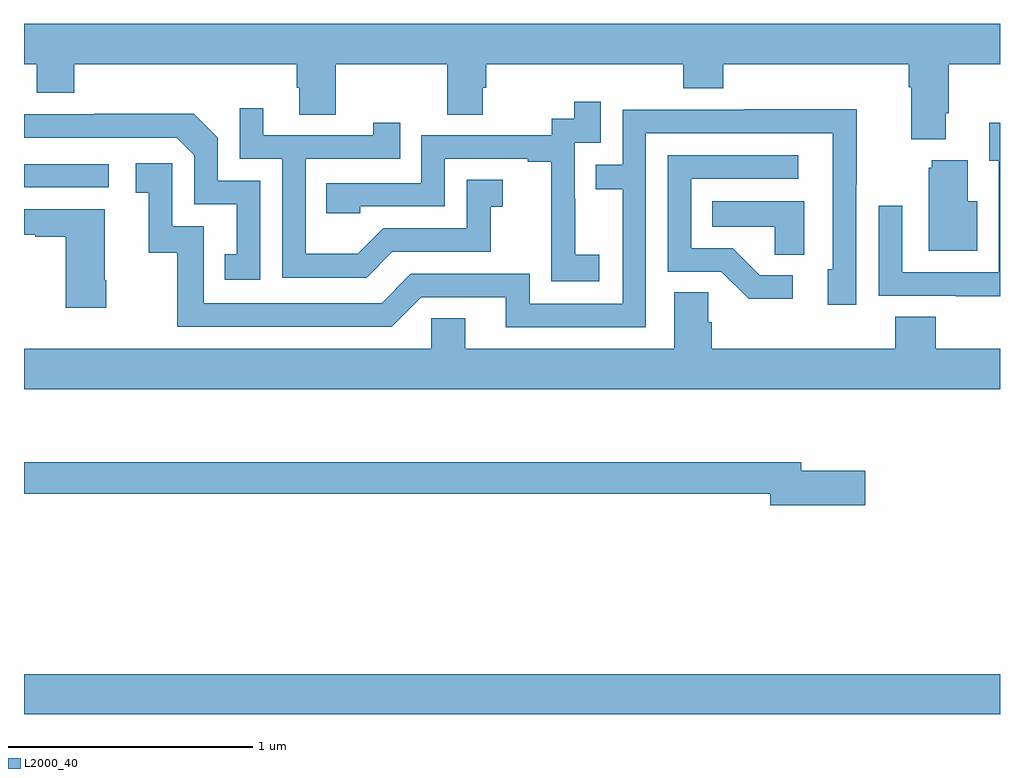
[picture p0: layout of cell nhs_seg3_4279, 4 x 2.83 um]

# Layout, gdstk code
import gdstk
lib = gdstk.Library(unit=1e-6, precision=1e-09)
def R(c, l, rs):  # rectangles x0, y0, x1, y1
    for r in rs: c.add(gdstk.rectangle(r[:2], r[2:], *l))
def P(c, l, *ps):  # polygons
    for p in ps: c.add(gdstk.Polygon(p, *l))
L2000_40 = (2000, 40)

nhs_seg3_4279 = lib.new_cell('nhs_seg3_4279')
R(nhs_seg3_4279, L2000_40, [(337,735.548,341,735.712), (337,737.706,337.348,737.802)])
P(nhs_seg3_4279, L2000_40, [(340.777,738.01),(340.79,738.01),(340.79,738.212),(341,738.212),(341,738.376),(337,738.376),(337,738.212),(337.052,738.212),(337.052,738.095),(337.205,738.095),(337.205,738.212),(338.117,738.212),(338.117,738.114),(338.129,738.114),(338.129,738.004),(338.277,738.004),(338.277,738.212),(338.734,738.212),(338.734,738.004),(338.881,738.004),(338.881,738.114),(338.894,738.114),(338.894,738.212),(339.701,738.212),(339.701,738.113),(339.866,738.113),(339.866,738.212),(340.625,738.212),(340.625,738.116),(340.637,738.116),(340.637,737.903),(340.777,737.903)],
  [(339.358,737.431),(339.26,737.431),(339.26,737.66),(339.258,737.66),(339.258,737.889),(339.363,737.889),(339.363,738.058),(339.255,738.058),(339.255,737.988),(339.162,737.988),(339.162,737.919),(338.628,737.919),(338.628,737.724),(338.239,737.724),(338.239,737.601),(338.379,737.601),(338.379,737.628),(338.724,737.628),(338.724,737.823),(339.065,737.823),(339.065,737.811),(339.161,737.811),(339.161,737.527),(339.16,737.527),(339.16,737.321),(339.358,737.321)],
  [(338.509,737.442),(338.913,737.442),(338.913,737.627),(338.962,737.627),(338.962,737.737),(338.814,737.737),(338.814,737.538),(338.472,737.538),(338.368,737.434),(338.154,737.434),(338.154,737.823),(338.543,737.823),(338.543,737.971),(338.432,737.971),(338.432,737.919),(337.981,737.919),(337.981,738.031),(337.884,738.031),(337.884,737.823),(338.058,737.823),(338.058,737.337),(338.404,737.337)],
  [(339.549,737.928),(340.314,737.928),(340.314,737.37),(340.295,737.37),(340.295,737.226),(340.41,737.226),(340.41,737.719),(340.413,737.719),(340.413,738.026),(339.949,738.026),(339.949,738.024),(339.453,738.024),(339.453,737.799),(339.343,737.799),(339.343,737.698),(339.453,737.698),(339.453,737.229),(339.072,737.229),(339.072,737.352),(338.586,737.352),(338.466,737.232),(337.737,737.232),(337.737,737.547),(337.608,737.547),(337.608,737.806),(337.458,737.806),(337.458,737.685),(337.511,737.685),(337.511,737.439),(337.629,737.439),(337.629,737.136),(338.508,737.136),(338.628,737.256),(338.975,737.256),(338.975,737.133),(339.549,737.133)],
  [(337.968,737.733),(337.794,737.733),(337.794,737.91),(337.696,738.008),(337.288,738.008),(337.288,738.006),(337,738.006),(337,737.91),(337.626,737.91),(337.698,737.838),(337.698,737.637),(337.871,737.637),(337.871,737.433),(337.822,737.433),(337.822,737.328),(337.968,737.328)],
  [(341,737.971),(340.955,737.971),(340.955,737.815),(340.995,737.815),(340.995,737.358),(340.599,737.358),(340.599,737.632),(340.503,737.632),(340.503,737.262),(340.819,737.262),(340.819,737.261),(341,737.261)],
  [(340.15,737.346),(340.015,737.346),(339.904,737.457),(339.735,737.457),(339.735,737.742),(340.174,737.742),(340.174,737.838),(339.639,737.838),(339.639,737.361),(339.858,737.361),(339.971,737.249),(340.15,737.249)],
  [(340.906,737.65),(340.867,737.65),(340.867,737.818),(340.721,737.818),(340.721,737.787),(340.709,737.787),(340.709,737.447),(340.906,737.447)],
  [(340.198,737.65),(339.82,737.65),(339.82,737.546),(340.077,737.546),(340.077,737.431),(340.198,737.431)],
  [(337.338,737.326),(337.33,737.326),(337.33,737.617),(337,737.617),(337,737.513),(337.046,737.513),(337.046,737.503),(337.172,737.503),(337.172,737.214),(337.338,737.214)],
  [(341,737.044),(340.736,737.044),(340.736,737.177),(340.571,737.177),(340.571,737.044),(339.818,737.044),(339.818,737.153),(339.804,737.153),(339.804,737.276),(339.665,737.276),(339.665,737.044),(338.809,737.044),(338.809,737.171),(338.67,737.171),(338.67,737.044),(337,737.044),(337,736.88),(341,736.88)],
  [(340.447,736.545),(340.186,736.545),(340.186,736.579),(337,736.579),(337,736.45),(340.058,736.45),(340.058,736.403),(340.447,736.403)])

lib.write_gds('nhs_seg3_4279.gds')
